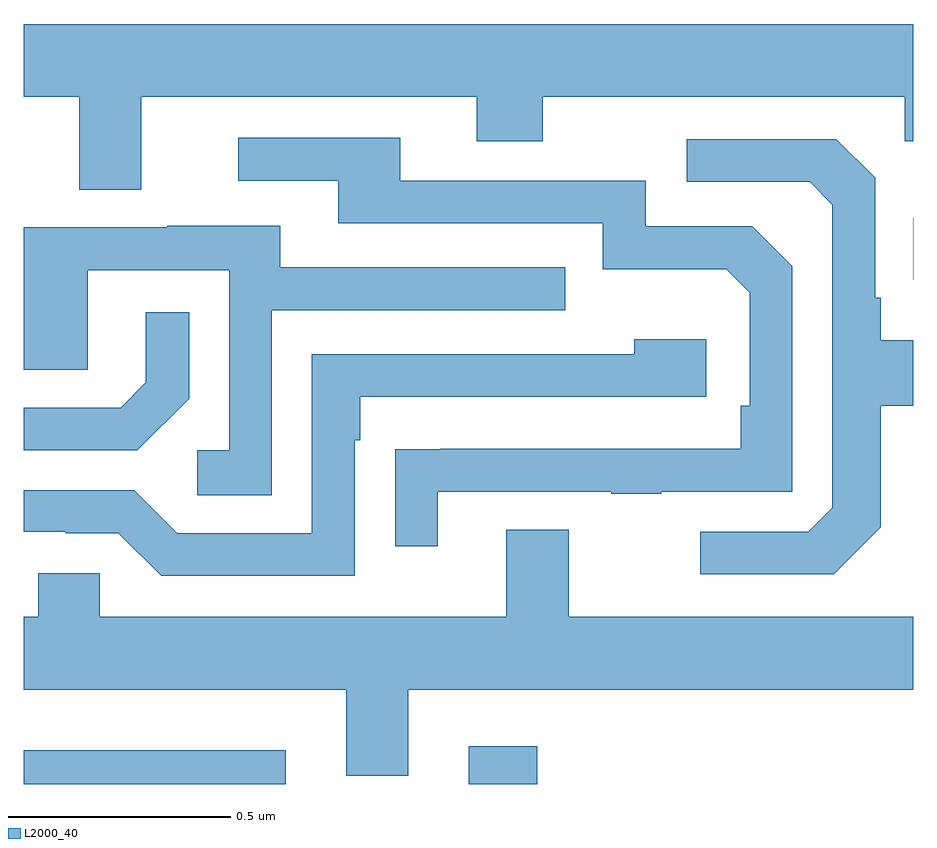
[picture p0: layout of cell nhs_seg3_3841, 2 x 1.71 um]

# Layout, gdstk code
import gdstk
lib = gdstk.Library(unit=1e-6, precision=1e-09)
def R(c, l, rs):  # rectangles x0, y0, x1, y1
    for r in rs: c.add(gdstk.rectangle(r[:2], r[2:], *l))
def P(c, l, *ps):  # polygons
    for p in ps: c.add(gdstk.Polygon(p, *l))
L2000_40 = (2000, 40)

nhs_seg3_3841 = lib.new_cell('nhs_seg3_3841')
R(nhs_seg3_3841, L2000_40, [(159,671.4,159.589,671.476), (160.001,671.4,160.154,671.485), (160.999,672.533,161,672.673)])
P(nhs_seg3_3841, L2000_40, [(159.265,672.944),(160.019,672.944),(160.019,672.845),(160.167,672.845),(160.167,672.944),(160.98,672.944),(160.98,672.845),(161,672.845),(161,673.108),(159,673.108),(159,672.944),(159.125,672.944),(159.125,672.736),(159.265,672.736)],
  [(159.931,672.057),(160.321,672.057),(160.321,672.052),(160.433,672.052),(160.433,672.057),(160.728,672.057),(160.728,672.564),(160.638,672.654),(160.398,672.654),(160.398,672.756),(159.847,672.756),(159.847,672.852),(159.483,672.852),(159.483,672.756),(159.707,672.756),(159.707,672.66),(160.302,672.66),(160.302,672.557),(160.579,672.557),(160.632,672.504),(160.632,672.25),(160.612,672.25),(160.612,672.153),(159.937,672.153),(159.937,672.152),(159.835,672.152),(159.835,671.934),(159.931,671.934)],
  [(160.927,671.977),(160.927,672.25),(161,672.25),(161,672.397),(160.927,672.397),(160.927,672.493),(160.914,672.493),(160.914,672.762),(160.827,672.849),(160.491,672.849),(160.491,672.753),(160.767,672.753),(160.818,672.702),(160.818,672.021),(160.764,671.967),(160.521,671.967),(160.521,671.871),(160.821,671.871)],
  [(159.558,672.465),(160.217,672.465),(160.217,672.561),(159.577,672.561),(159.577,672.655),(159.323,672.655),(159.323,672.651),(159,672.651),(159,672.331),(159.144,672.331),(159.144,672.555),(159.462,672.555),(159.462,672.15),(159.39,672.15),(159.39,672.049),(159.558,672.049)],
  [(159.372,672.266),(159.372,672.46),(159.275,672.46),(159.275,672.303),(159.218,672.246),(159,672.246),(159,672.15),(159.256,672.15)],
  [(159.744,672.173),(159.757,672.173),(159.757,672.27),(160.534,672.27),(160.534,672.4),(160.373,672.4),(160.373,672.366),(159.648,672.366),(159.648,671.964),(159.345,671.964),(159.249,672.06),(159,672.06),(159,671.967),(159.095,671.967),(159.095,671.964),(159.213,671.964),(159.309,671.868),(159.744,671.868)],
  [(159.865,671.612),(161,671.612),(161,671.776),(160.225,671.776),(160.225,671.971),(160.085,671.971),(160.085,671.776),(159.171,671.776),(159.171,671.874),(159.033,671.874),(159.033,671.776),(159,671.776),(159,671.612),(159.725,671.612),(159.725,671.418),(159.865,671.418)])

lib.write_gds('nhs_seg3_3841.gds')
